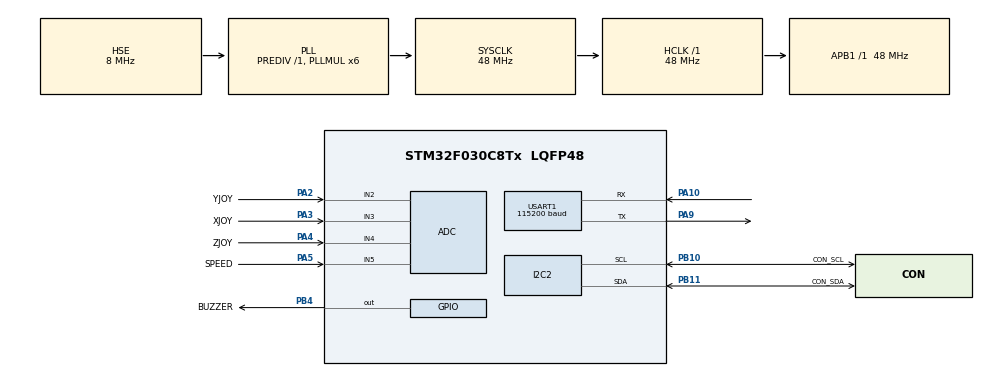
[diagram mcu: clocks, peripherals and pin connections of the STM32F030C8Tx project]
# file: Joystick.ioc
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ADC.ClockPrescaler=ADC_CLOCK_SYNC_PCLK_DIV4
ADC.ContinuousConvMode=ENABLE
ADC.DMAContinuousRequests=ENABLE
ADC.EOCSelection=ADC_EOC_SEQ_CONV
ADC.ExternalTrigConv=ADC_SOFTWARE_START
ADC.SamplingTime=ADC_SAMPLETIME_239CYCLES_5
Dma.ADC.0.Direction=DMA_PERIPH_TO_MEMORY
Dma.ADC.0.Instance=DMA1_Channel1
Dma.ADC.0.MemDataAlignment=DMA_MDATAALIGN_HALFWORD
Dma.ADC.0.MemInc=DMA_MINC_ENABLE
Dma.ADC.0.Mode=DMA_CIRCULAR
Dma.ADC.0.PeriphDataAlignment=DMA_PDATAALIGN_HALFWORD
Dma.ADC.0.PeriphInc=DMA_PINC_DISABLE
Dma.ADC.0.Priority=DMA_PRIORITY_LOW
Dma.Request0=ADC
I2C2.I2C_Fall_Time=300
I2C2.I2C_Rise_Time=1000
I2C2.Timing=0x30E32E37
Mcu.Family=STM32F0
Mcu.Name=STM32F030C8Tx
Mcu.Package=LQFP48
NVIC.ADC1_IRQn=true\:0\:0\:true\:false\:true\:true\:true
NVIC.DMA1_Channel1_IRQn=true\:0\:0\:false\:false\:true\:false\:true
NVIC.I2C2_IRQn=true\:0\:0\:true\:false\:true\:true\:true
NVIC.TIM3_IRQn=true\:0\:0\:false\:false\:true\:true\:true
NVIC.TIM6_IRQn=true\:0\:0\:false\:false\:true\:true\:true
NVIC.USART1_IRQn=true\:0\:0\:true\:false\:true\:true\:true
PA10.Mode=Asynchronous
PA10.Signal=USART1_RX
PA13.GPIO_Label=CON_SWIO
PA13.Mode=Serial_Wire
PA13.Signal=SYS_SWDIO
PA14.GPIO_Label=CON_SWCLK
PA14.Mode=Serial_Wire
PA14.Signal=SYS_SWCLK
PA2.GPIO_Label=YJOY
PA2.Mode=IN2
PA2.Signal=ADC_IN2
PA3.GPIO_Label=XJOY
PA3.Mode=IN3
PA3.Signal=ADC_IN3
PA4.GPIO_Label=ZJOY
PA4.Mode=IN4
PA4.Signal=ADC_IN4
PA5.GPIO_Label=SPEED
PA5.Mode=IN5
PA5.Signal=ADC_IN5
PA9.Mode=Asynchronous
PA9.Signal=USART1_TX
PB10.GPIO_Label=CON_SCL
PB10.Mode=I2C
PB10.Signal=I2C2_SCL
PB11.GPIO_Label=CON_SDA
PB11.Mode=I2C
PB11.Signal=I2C2_SDA
PB4.GPIO_Label=BUZZER
PB4.GPIO_PuPd=GPIO_PULLDOWN
PB4.GPIO_Speed=GPIO_SPEED_FREQ_MEDIUM
PB4.Signal=GPIO_Output
PF0-OSC_IN.Mode=HSE-External-Oscillator
PF0-OSC_IN.Signal=RCC_OSC_IN
PF1-OSC_OUT.Mode=HSE-External-Oscillator
PF1-OSC_OUT.Signal=RCC_OSC_OUT
ProjectManager.HeapSize=0x200
ProjectManager.StackSize=0x400
ProjectManager.TargetToolchain=MDK-ARM V5
RCC.AHBFreq_Value=48000000
RCC.APB1Freq_Value=48000000
RCC.APB1TimFreq_Value=48000000
RCC.HCLKFreq_Value=48000000
RCC.PLLMUL=RCC_PLL_MUL6
RCC.PLLSourceVirtual=RCC_PLLSOURCE_HSE
RCC.SYSCLKFreq_VALUE=48000000
RCC.SYSCLKSource=RCC_SYSCLKSOURCE_PLLCLK
TIM3.AutoReloadPreload=TIM_AUTORELOAD_PRELOAD_ENABLE
TIM3.Period=4999
TIM3.Prescaler=4799
TIM6.Period=999
TIM6.Prescaler=4799
USART1.BaudRate=115200
USART1.Parity=PARITY_NONE
USART1.VirtualMode-Asynchronous=VM_ASYNC
VP_TIM3_VS_ClockSourceINT.Mode=Internal
VP_TIM6_VS_ClockSourceINT.Mode=Enable_Timer
board=custom

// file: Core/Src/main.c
/* USER CODE BEGIN Header */
/**
  * @file           main.c
  * @details        "At first Should press(F1+F2)keys for 3seconds to initialize reference values of joystick(when joystick is released)"
  *                 In this code we recieve 2 Uart packages (Get and Led)
  *                 and according to them, if we recieved Get package, we
  *                 send the status of potentiometers(ADC) and keys(I2C)
  *                 with Status packet to controller.if we recieved Led
  *                 package, we set status of LEDs(I2C) and buzzer according
  *                 to recieved data and then send Ack packet to controller.
  *                 At first or when we didn't recieve any data from controller for 10 seconds,
  *                 the (JOYSTICK,EMERGENCY,DCC) LEDs blinking.
  *                 At first Should press(F1+F2)keys for 3seconds to initialize reference values of joystick(when joystick is released)
  *                 When user wants to reset joystick reference values should press(F1+F2)keys for 3seconds(KEYPAD_CHECK_COUNTER_MAX * 100ms)
  * @author         Shima Nosrati
  * @Date           1400.06.17
  * @copyright      Mehr (Meghyas Hamisheh Radyab)
  * @warning        ---
  */
/* USER CODE END Header */
#include "main.h"
#include "adc.h"
#include "dma.h"
#include "i2c.h"
#include "tim.h"
#include "usart.h"
#include "gpio.h"

/* USER CODE BEGIN Includes */
#include "stdio.h"
#include "math.h"       /**< round function */
#include "mcp23017.h"
#include "datamanagement.h"
#include "delay.h"
/* USER CODE END Includes */

/* USER CODE BEGIN PTD */

/**
  * @struct AdcVlaues_t
  * @brief  This struct holds a list of read values from ADC. These variables are defined globally and
  *         change only in HAL_ADC_ConvCpltCallback function, they should not change elsewhere in the program.
  */
typedef struct
{
  uint16_t Xpos;   /**< This variable holds the read adc value of Joystick X-axis (0-4095 for 12 bit resolution)     */
  uint16_t Ypos;   /**< This variable holds the read adc value of Joystick Y-axis (0-4095 for 12 bit resolution)     */
  uint16_t Zpos;   /**< This variable holds the read adc value of Joystick Z-axis (0-4095 for 12 bit resolution)     */
  uint16_t Spos;   /**< This variable holds the read adc value of Speed potentiometer (0-4095 for 12 bit resolution) */
}AdcVlaues_t;

/**
  * @struct JoystickReferences_t
  * @brief  This struct holds a list of reference values of joystick when the joystick is released
  */
typedef struct
{
  uint16_t XjoyRef;   /**< This variable holds the reference value of Joystick X-axis when the joystick is released */
  uint16_t YjoyRef;   /**< This variable holds the reference value of Joystick Y-axis when the joystick is released */
  uint16_t ZjoyRef;   /**< This variable holds the reference value of Joystick Z-axis when the joystick is released */
}JoystickReferences_t;

/**
  * @struct Flags_t
  * @brief  This struct holds a list of flags that indicate the received data from serial and read data from adc is ready or not
  */
typedef struct
{
  uint8_t RxPacketReady : 1;      /**< Indicate the received data from Uart is ready or not              */
  uint8_t AdcDataReady : 1;       /**< Indicate the read data from adc is ready or not                   */
  uint8_t TransactionExist : 1;   /**< Indicate there is data transaction between Handbox and Controller */
  uint8_t JoyRefSet : 1;          /**< Indicate the JoyStick reference values are set or not             */
  uint8_t Dummy : 4;              /**< Not used                                                          */
}Flags_t;

/**
  * @enum BlinkStatus_t
  * @brief Indicate JOYSTICK,EMERGENCY,DCC LEDs are OFF or ON
  */
typedef enum
{
  BlinkOff = 0,  /**< JOYSTICK,EMERGENCY,DCC LEDs are OFF */
  BlinkOn = 1    /**< JOYSTICK,EMERGENCY,DCC LEDs are ON  */
}BlinkStatus_t;

/* USER CODE END PTD */

/* USER CODE BEGIN PD */

/**
  * @def   RX_BUFFER_MAX_SIZE
  * @brief Specify the maximum value of RxBuffer size
  */
#define RX_BUFFER_MAX_SIZE    ((uint8_t)50)

/**
  * @def   TX_BUFFER_MAX_SIZE
  * @brief Specify the maximum value of TxBuffer size
  */
#define TX_BUFFER_MAX_SIZE    ((uint8_t)11)

/**
  * @def   ADC_SAMPLE_NUMBER
  * @brief Specify the number of samples from each adc channel (must be even and power of 2)
  */
#define ADC_SAMPLE_NUMBER     ((uint8_t)16)

/**
  * @def   ADC_SAMPLE_SHIFT_RIGHT
  * @brief Specify the number of shifting right the value of adc sampling to calculate value of average of adc sampling data
  *        (ADC_SAMPLE_SHIFT_RIGHT = log(ADC_SAMPLE_NUMBER) in based 2)
  */
#define ADC_SAMPLE_SHIFT_RIGHT     ((uint8_t)4)

/**
  * @def   ADC_BUFFER_MAX_SIZE
  * @brief Specify the maximum value of AdcBuffer size
  */
#define ADC_BUFFER_MAX_SIZE   ((uint8_t)(ADC_SAMPLE_NUMBER * ((uint8_t)4)))

/**
  * @def   ADC_VALUE_UPPER_LIMIT
  * @brief Specify the value of maximum limit of read adc data (4020 = 4095 - 75)
  */
#define ADC_VALUE_UPPER_LIMIT   ((uint16_t)4020)

/**
  * @def   ADC_VALUE_LOWER_LIMIT
  * @brief Specify the value of minimum limit of read adc data (75 = 0 + 75)
  */
#define ADC_VALUE_LOWER_LIMIT   ((uint16_t)75)

/**
  * @def   ADC_REF_OFFSET
  * @brief Specify the value of Offset (As this value increases, the accuracy of adc value decreases)
  *        We used this offset to eliminate potentiometers position instability
  */
#define ADC_REF_OFFSET    ((uint16_t)20)

/**
  * @def   TRANSACTION_TIME_COUNTER_MAX
  * @brief Specify the maximum value of counter Which is used to calculate Transaction time
  *        Transaction time = counter * 500ms (500ms is when the timer interrupt occurs)
  */
#define TRANSACTION_TIME_COUNTER_MAX    ((uint16_t)20)

/**
  * @def   PAGE63_ADRS
  * @brief Specify the address of Page 63 of microcontroller flash.
  */
#define PAGE63_ADRS    ((uint32_t)0x0800FC00)

/**
  * @def   JOYREF_CHECK_ADRS
  * @brief Specify the address where JOYREF_CHECK_VALUE is stored, which indicates the reference values are set or not.
  *        When the keys (F1, F2) are pressed, we store a specific value of JOYREF_CHECK_VALUE in JOYREF_CHECK_ADRS address,
  *        and we also store the reference values in the specified addresses( XJOYREF_ADRS, YJOYREF_ADRS, ZJOYREF_ADRS),
  *        and by examining the specified value stored in address JOYREF_CHECK_ADRS, we find that the reference values are set Or not.
  *        (Refer to Table-4 of stm32f030 user manual)
  */
#define JOYREF_CHECK_ADRS    (PAGE63_ADRS + ((uint32_t)0))

/**
  * @def   XJOYREF_ADRS
  * @brief Specify the microcontroller flash address where value of reference value of joystick position in X-axis, will be stored.
  *        (Refer to Table-4 of stm32f030 user manual)
  */
#define XJOYREF_ADRS    (PAGE63_ADRS + ((uint32_t)2))

/**
  * @def   YJOYREF_ADRS
  * @brief Specify the microcontroller flash address where value of reference value of joystick position in Y-axis, will be stored.
  *        (Refer to Table-4 of stm32f030 user manual)
  */
#define YJOYREF_ADRS    (PAGE63_ADRS + ((uint32_t)4))

/**
  * @def   ZJOYREF_ADRS
  * @brief Specify the microcontroller flash address where value of reference value of joystick position in Z-axis, will be stored.
  *        (Refer to Table-4 of stm32f030 user manual)
  */
#define ZJOYREF_ADRS    (PAGE63_ADRS + ((uint32_t)6))

/**
  * @def   JOYREF_CHECK_VALUE
  * @brief Specify the value that stored in JOYREF_CHECK_ADRS address and indicates the reference values are set or not.
  */
#define JOYREF_CHECK_VALUE    ((uint16_t)0xAAAA)

/**
  * @def   KEYPAD_CHECK_COUNTER_MAX
  * @brief Specify the counter, which specifies the time that (F1, F2) keys must be pressed (KEYPAD_CHECK_COUNTER_MAX * 100ms).
  *        In KEYPAD_CHECK_COUNTER_MAX=30, user must press the keys for 3 seconds to save the joystick reference values.
  */
#define KEYPAD_CHECK_COUNTER_MAX ((uint16_t)30)

/* USER CODE END PD */

/* USER CODE BEGIN PV */
/**
  * @var   const uint16_t PositiveMax
  * @brief This variable holds the maximum value of Joystick axis position for positive position
  */
const uint16_t PositiveMax = 200;

/**
  * @var   const uint16_t PositiveMin
  * @brief This variable holds the minimum value of Joystick axis position for positive position
  */
const uint16_t PositiveMin = 101;

/**
  * @var   const uint16_t NegativeMax
  * @brief This variable holds the maximum value of Joystick axis position for negative position
  */
const uint16_t NegativeMax = 99;

/**
  * @var   const uint16_t NegativeMin
  * @brief This variable holds the minimum value of Joystick axis position for negative position
  */
const uint16_t NegativeMin = 0;

/**
  * @var   const uint16_t SpeedMax
  * @brief This variable holds the maximum value of Speed potentiometer position
  */
const uint16_t SpeedMax = 10;

/**
  * @var   const uint16_t SpeedMin
  * @brief This variable holds the minimum value of Speed potentiometer position
  */
const uint16_t SpeedMin = 0;

/**
  * @var   uint8_t ReceivedData
  * @brief This variable holds the value of 1byte recieved data from Uart
  */
uint8_t ReceivedData;

/**
  * @var   uint8_t RxBuffer[RX_BUFFER_MAX_SIZE]
  * @brief Recieved bytes from Uart are stored in this buffer. This variable is defined globally and
  *        change only in HAL_UART_RxCpltCallback function, it should not change elsewhere in the program.
  */
uint8_t RxBuffer[RX_BUFFER_MAX_SIZE];

/**
  * @var   uint8_t RxCounter
  * @brief This variable holds the value of the counter of received data
  *        Initialize RxCounter to starting value
  */
uint8_t RxCounter = 0;

/**
  * @var   uint16_t AdcBuffer[16]
  * @brief The data read from adc is stored in this buffer
  */
uint16_t AdcBuffer[ADC_BUFFER_MAX_SIZE];

/**
  * @var   MCP23017_Handle_t hmcp1
  * @brief This variable contains value and parameters of First MCP23017 IC
  */
MCP23017_Handle_t hmcp1;

/**
  * @var   MCP23017_Handle_t hmcp2
  * @brief This variable contains value and parameters of second MCP23017 IC
  */
MCP23017_Handle_t hmcp2;

/**
  * @var   AdcVlaues_t AdcReadValues
  * @brief This variable holds the read adc value of Joystick and Speed potentiometers. These variables are defined globally and
  *        change only in HAL_ADC_ConvCpltCallback function, they should not change elsewhere in the program.
  */
AdcVlaues_t AdcReadValues;

/**
  * @var   Flags_t Flag
  * @brief This variable holds a list of flags that indicate the received data from Uart and read data from adc is ready or not
  */
Flags_t Flag;

/**
  * @var   uint16_t TransactionTimeCounter
  * @brief This variable holds the counter Which is used to calculate Transaction time
  */
uint16_t TransactionTimeCounter = 0;

/**
  * @var   BlinkStatus_t BlinkStatus
  * @brief This variable holds the status of JOYSTICK,EMERGENCY,DCC LEDs.
  */
BlinkStatus_t BlinkStatus = BlinkOff;

uint16_t ReadFlash;

uint16_t KeypadCheckCounter = 0;
/* USER CODE END PV */

void SystemClock_Config(void);
/* USER CODE BEGIN PFP */
void get_status_routine(StatusData_t *pStatusData, JoystickReferences_t *pJoyRef, AdcVlaues_t *pAdcVals);
void led_status_routine(DataAndCommand_t *pDataAndCmd);
void buzzer (uint16_t BeepTime);
/* USER CODE END PFP */

int main(void)
{
  /* USER CODE BEGIN 1 */

  /**
    * @var   DataAndCommand_t DataAndCommand
    * @brief This variable holds receive commands and the received Command Data from Uart
    */
  DataAndCommand_t DataAndCommand;

  /**
    * @var   StatusData_t StatusData
    * @brief This variable holds a list of status buffer data (values of joystick and speed potentiometer positions and Buttons situation)
    */
  StatusData_t StatusData;

  /**
    * @var   PacketData_t PacketData
    * @brief This variable holds Buffer(Ack ans Status) packet  and a list of messages (This packet is filled to send to the controller)
    */
  PacketData_t PacketData;

  /**
    * @var   JoystickReferences_t JoyRef
    * @brief This variable holds a list of reference values of joystick when the joystick is released
    */
  JoystickReferences_t JoyRef;

  /**
    * @var   FLASH_EraseInitTypeDef EraseInitStruct
    * @brief FLASH Erase structure definition
    */
  FLASH_EraseInitTypeDef EraseInitStruct;

  /**
    * @var   uint32_t PageError
    * @brief This variable contains the configuration information on faulty page in case of error
    *        (0xFFFFFFFF means that all the pages have been correctly erased)
    *        Initialize value to zero.
    */
  uint32_t PageError = 0;

  /* USER CODE END 1 */

  /* MCU Configuration--------------------------------------------------------*/

  /* Reset of all peripherals, Initializes the Flash interface and the Systick. */
  HAL_Init();

  /* Configure the system clock */
  SystemClock_Config();

  /* Initialize all configured peripherals */
  MX_GPIO_Init();
  MX_DMA_Init();
  MX_ADC_Init();
  MX_I2C2_Init();
  MX_USART1_UART_Init();
  MX_TIM3_Init();
  MX_TIM6_Init();
  /* USER CODE BEGIN 2 */

  /**
    * @note Initialize MCP23017 ICs. define their address and their direction(input-output) and initialize all leds are OFF.
    */
  MCP23017_init(&hmcp1, &hi2c2, MCP23017_ADDRESS_1);
  MCP23017_init(&hmcp2, &hi2c2, MCP23017_ADDRESS_8);
  MCP23017_iodir(&hmcp1, MCP23017_PORTA, MCP23017_IODIR_ALL_OUTPUT);
  MCP23017_iodir(&hmcp1, MCP23017_PORTB, MCP23017_IODIR_ALL_INPUT);
  MCP23017_iodir(&hmcp2, MCP23017_PORTA, MCP23017_IODIR_ALL_OUTPUT);
  MCP23017_iodir(&hmcp2, MCP23017_PORTB, MCP23017_IODIR_ALL_INPUT);

  /* LEDs OFF */
  hmcp1.Gpio[MCP23017_PORTA] = 0xFF;
  MCP23017_write_gpio(&hmcp1, MCP23017_PORTA);
  hmcp2.Gpio[MCP23017_PORTA] = 0xFF;
  MCP23017_write_gpio(&hmcp2, MCP23017_PORTA);

  /**
    * @note Initialize variable to starting value. (no flag, no command, no message)
    */
  Flag.JoyRefSet = 0;
  Flag.RxPacketReady = 0;
  Flag.AdcDataReady = 0;
  Flag.TransactionExist = 0;
  BlinkStatus = BlinkOff;
  TransactionTimeCounter = 0;
  DataAndCommand.CmdType = CmdNone;
  DataAndCommand.CmdData[0] = 0x00;
  DataAndCommand.CmdData[1] = 0x00;
  DataAndCommand.CmdData[2] = 0x00;
  PacketData.MsgType = MsgNone;
  KeypadCheckCounter = 0;

  HAL_Delay(500);
  /**
    * @note Read Flash to check if reference values were previously set.
    *       When the keys (F1, F2) are pressed, we store a specific value of JOYREF_CHECK_VALUE in JOYREF_CHECK_ADRS address,
    *       and we also store the reference values in the specified addresses( XJOYREF_ADRS, YJOYREF_ADRS, ZJOYREF_ADRS),
    *       and by examining the specified value stored in address JOYREF_CHECK_ADRS, we find that the reference values are set Or not.
    *       and if reference values were previously set we use that values(that saved in flash memory) for reference values.
    */
  ReadFlash = *(uint16_t *)JOYREF_CHECK_ADRS;
  if (ReadFlash == JOYREF_CHECK_VALUE)
  {
    JoyRef.XjoyRef = *(uint16_t *)XJOYREF_ADRS;
    JoyRef.YjoyRef = *(uint16_t *)YJOYREF_ADRS;
    JoyRef.ZjoyRef = *(uint16_t *)ZJOYREF_ADRS;
    Flag.JoyRefSet = 1;
  }
  else
  {
    JoyRef.XjoyRef = 0;
    JoyRef.YjoyRef = 0;
    JoyRef.ZjoyRef = 0;
    Flag.JoyRefSet = 0;

  }
  /**
    * @note Initial beep.
    */
  buzzer(50);

  /* Start and enable interupt for  receive data(one byte) from uart */
  HAL_UART_Receive_IT(&huart1, &ReceivedData, 1);
  /* Start and enable interupt for 500ms tick timer */
  HAL_TIM_Base_Start_IT(&htim3);
  /* Start and enable interupt for 100ms tick timer to check keypad */
  HAL_TIM_Base_Start_IT(&htim6);

  /* USER CODE END 2 */

  /* Infinite loop */
  /* USER CODE BEGIN WHILE */
  for (;;)
  {

    /**
      * @note When received data from uart is ready reset the RxPacketReady and analyze the received data from Uart.
      */
    if ((Flag.RxPacketReady == 1) && (Flag.JoyRefSet == 1))
    {
      Flag.RxPacketReady = 0;

      input_packet_analyzer(RxBuffer, &RxCounter, &DataAndCommand);
    }

    /**
      * @note When received command is CmdGet routine of Get command is performed The message type changes to
      *       MsgStatus and reset command and command data values. When received command is CmdLed routine of Led
      *       command is performed The message type changes to MsgAck and reset command and command data values.
      */
    if ((DataAndCommand.CmdType == CmdGet) && (Flag.JoyRefSet == 1))
    {
      get_status_routine(&StatusData, &JoyRef, &AdcReadValues);
      /*  Change The message type to MsgStatus */
      PacketData.MsgType = MsgStatus;

      /*  Reset Command  */
      DataAndCommand.CmdType = CmdNone;

      /*  Reset command data values  */
      DataAndCommand.CmdData[0] = 0x00;
      DataAndCommand.CmdData[1] = 0x00;
      DataAndCommand.CmdData[2] = 0x00;
    }
    else if ((DataAndCommand.CmdType == CmdLed) && (Flag.JoyRefSet == 1))
    {
      led_status_routine(&DataAndCommand);

      /*  Change The message type to MsgAck  */
      PacketData.MsgType = MsgAck;

      /*  Reset Command  */
      DataAndCommand.CmdType = CmdNone;

      /*  Reset command data values  */
      DataAndCommand.CmdData[0] = 0x00;
      DataAndCommand.CmdData[1] = 0x00;
      DataAndCommand.CmdData[2] = 0x00;
    }
    else
    {
      /* Empty */
    }

    /**
      * @note When the message isn't MsgNone, make message (prepare message to send to controller) and using Uart send it to controller.
      */
    if ((PacketData.MsgType != MsgNone) && (Flag.JoyRefSet == 1))
    {
      make_message(&PacketData, &StatusData);

      /*  Send PacketData.Buffer to controller using uart */
      HAL_UART_Transmit(&huart1, PacketData.Buffer, TX_BUFFER_MAX_SIZE, 100);

      /*  Reset The message type to MsgNone  */
      PacketData.MsgType = MsgNone;
    }
    /* USER CODE END WHILE */

    /* USER CODE BEGIN 3 */

    /**
      * @note When (F1, F2) keys are pressed for (KEYPAD_CHECK_COUNTER_MAX * 100ms) secons, stop all timers and turn on all LEDs
      *       and read Adc and save the joystick reference values on the microcontroller flash memory. Then Turn off all LEDs and
      *       start timer3 and timer6 to continue the program.
      *       Stop all actions to initialize Joystick reference values then start actions for program routine.
      */
    if (KeypadCheckCounter == KEYPAD_CHECK_COUNTER_MAX)
    {
      /**
        * @note stop timer3 and timer6
        */
      HAL_TIM_Base_Stop(&htim3);
      HAL_TIM_Base_Stop(&htim6);

      /**
        * @note Turn on all LEDs
        */
      hmcp1.Gpio[MCP23017_PORTA] = 0x00;
      MCP23017_write_gpio(&hmcp1, MCP23017_PORTA);
      hmcp2.Gpio[MCP23017_PORTA] = 0x00;
      MCP23017_write_gpio(&hmcp2, MCP23017_PORTA);

      /**
        * @note read Adc
        */
      Flag.AdcDataReady = 0;
      HAL_ADC_Start_DMA(&hadc,(uint32_t*) AdcBuffer, ADC_BUFFER_MAX_SIZE);
      while (Flag.AdcDataReady == 0);

      /**
        * @note save the joystick reference values on the microcontroller flash memory(page63, Refer to Table-4 of stm32f030 user manual).
        */
      HAL_FLASH_Unlock();

      EraseInitStruct.NbPages = 1;
      EraseInitStruct.PageAddress = PAGE63_ADRS;
      EraseInitStruct.TypeErase = TYPEERASE_PAGES;
      HAL_FLASHEx_Erase(&EraseInitStruct , &PageError);

      HAL_FLASH_Program(FLASH_TYPEPROGRAM_HALFWORD, JOYREF_CHECK_ADRS, JOYREF_CHECK_VALUE);
      HAL_FLASH_Program(FLASH_TYPEPROGRAM_HALFWORD, XJOYREF_ADRS, AdcReadValues.Xpos);
      HAL_FLASH_Program(FLASH_TYPEPROGRAM_HALFWORD, YJOYREF_ADRS, AdcReadValues.Ypos);
      HAL_FLASH_Program(FLASH_TYPEPROGRAM_HALFWORD, ZJOYREF_ADRS, AdcReadValues.Zpos);

      HAL_FLASH_Lock();

      JoyRef.XjoyRef = *(uint16_t *)XJOYREF_ADRS;
      JoyRef.YjoyRef = *(uint16_t *)YJOYREF_ADRS;
      JoyRef.ZjoyRef = *(uint16_t *)ZJOYREF_ADRS;
      Flag.JoyRefSet = 1;

      HAL_Delay(5000);

      /**
        * @note Turn off all LEDs
        */
      hmcp1.Gpio[MCP23017_PORTA] = 0xFF;
      MCP23017_write_gpio(&hmcp1, MCP23017_PORTA);
      hmcp2.Gpio[MCP23017_PORTA] = 0xFF;
      MCP23017_write_gpio(&hmcp2, MCP23017_PORTA);

      /**
        * @note start timer3 and timer6.
        */
      Flag.TransactionExist = 0;
      BlinkStatus = BlinkOff;
      TransactionTimeCounter = 0;
      HAL_TIM_Base_Start_IT(&htim3);

      KeypadCheckCounter = 0;
      HAL_TIM_Base_Start_IT(&htim6);
    }
  }
  /* USER CODE END 3 */
}

void SystemClock_Config(void)
{
  RCC_OscInitTypeDef RCC_OscInitStruct = {0};
  RCC_ClkInitTypeDef RCC_ClkInitStruct = {0};
  RCC_PeriphCLKInitTypeDef PeriphClkInit = {0};

  /** Initializes the RCC Oscillators according to the specified parameters
  * in the RCC_OscInitTypeDef structure.
  */
  RCC_OscInitStruct.OscillatorType = RCC_OSCILLATORTYPE_HSE;
  RCC_OscInitStruct.HSEState = RCC_HSE_ON;
  RCC_OscInitStruct.PLL.PLLState = RCC_PLL_ON;
  RCC_OscInitStruct.PLL.PLLSource = RCC_PLLSOURCE_HSE;
  RCC_OscInitStruct.PLL.PLLMUL = RCC_PLL_MUL6;
  RCC_OscInitStruct.PLL.PREDIV = RCC_PREDIV_DIV1;
  if (HAL_RCC_OscConfig(&RCC_OscInitStruct) != HAL_OK)
  {
    Error_Handler();
  }
  /** Initializes the CPU, AHB and APB buses clocks
  */
  RCC_ClkInitStruct.ClockType = RCC_CLOCKTYPE_HCLK|RCC_CLOCKTYPE_SYSCLK
                              |RCC_CLOCKTYPE_PCLK1;
  RCC_ClkInitStruct.SYSCLKSource = RCC_SYSCLKSOURCE_PLLCLK;
  RCC_ClkInitStruct.AHBCLKDivider = RCC_SYSCLK_DIV1;
  RCC_ClkInitStruct.APB1CLKDivider = RCC_HCLK_DIV1;

  if (HAL_RCC_ClockConfig(&RCC_ClkInitStruct, FLASH_LATENCY_1) != HAL_OK)
  {
    Error_Handler();
  }
  PeriphClkInit.PeriphClockSelection = RCC_PERIPHCLK_USART1;
  PeriphClkInit.Usart1ClockSelection = RCC_USART1CLKSOURCE_PCLK1;
  if (HAL_RCCEx_PeriphCLKConfig(&PeriphClkInit) != HAL_OK)
  {
    Error_Handler();
  }
}

/* USER CODE BEGIN 4 */

/**
  * @brief   Starts the TIM Base generation in interrupt mode. This interruption occurs for timer3 and timer6.
  *          Timer3 = 500ms                    Timer6 = 600ms
  *          Timer3 = (PSC + 1) * (ARR + 1) / Ft = (4800) * (5000) / 48MHz = 500ms
  * @param   htim TIM Base handle
  * @returns None
  * @note    None
  */
void HAL_TIM_PeriodElapsedCallback(TIM_HandleTypeDef *htim)
{
  if (htim == &htim3)
  {
    /**
      * @note When there is no transaction JOYSTICK,EMERGENCY,DCC LEDs blink. when handbox receives data from controller,
      *       it sets Flag of TransactionExist and reset TransactionTimeCounter and
      *       When there is no transaction between HandBox and Controller for (TRANSACTION_TIME_COUNTER_MAX * 500ms) seconds
      *       and TransactionTimeCounter reaches to its predefined value, reset the TransactionTimeCounter and TransactionExist
      *       flag(to make  JOYSTICK,EMERGENCY,DCC LEDs blink) and turn off all LEDs.
      */
    if (Flag.TransactionExist == 0)
    {
      if (BlinkStatus == BlinkOff)
      {
        /* Turn on JOYSTICK,EMERGENCY,DCC LEDs  */
        hmcp1.Gpio[MCP23017_PORTA] = 0xC7;
        MCP23017_write_gpio(&hmcp1, MCP23017_PORTA);
        BlinkStatus = BlinkOn;
      }
      else
      {
        /* Turn off LEDs of first MCP23017      */
        hmcp1.Gpio[MCP23017_PORTA] = 0xFF;
        MCP23017_write_gpio(&hmcp1, MCP23017_PORTA);
        BlinkStatus = BlinkOff;
      }
    }
    else
    {
      TransactionTimeCounter++;

      if (TransactionTimeCounter == TRANSACTION_TIME_COUNTER_MAX)
      {
        Flag.TransactionExist = 0;
        TransactionTimeCounter = 0;

        hmcp1.Gpio[MCP23017_PORTA] = 0xFF;
        MCP23017_write_gpio(&hmcp1, MCP23017_PORTA);
        hmcp2.Gpio[MCP23017_PORTA] = 0xFF;
        MCP23017_write_gpio(&hmcp2, MCP23017_PORTA);
        BlinkStatus = BlinkOff;
      }
    }
  }
  else if (htim == &htim6)
  {
     /**
      * @note Sometimes the data sent by the controller was not received by the Handbox in the program.
      *       with this part of code we can solve this problem.
      *       Every 100ms check if Rx process is not already ongoing ,enable interupt for receive data.
      */
    if (huart1.RxState == HAL_UART_STATE_READY)
    {
      HAL_UART_Receive_IT(&huart1, &ReceivedData, 1);
    }

    /**
      * @note Every 100ms check F1, F2 keys and if F1, F2 are pressed increase KeypadCheckCounter
      *       and if F1, F2 are not pressed reset KeypadCheckCounter.
      */
    MCP23017_read_gpio(&hmcp1, MCP23017_PORTB);
    if (hmcp1.Gpio[MCP23017_PORTB] == 0x7E)
    {
      KeypadCheckCounter++;
    }
    else
    {
      KeypadCheckCounter = 0;
    }
  }
}

/**
  * @brief   Rx Transfer completed callback. In this function received data from Uart save in a buffer and check termination
  *          if it was correct and Flag.TransactionExist == 0, turn off all LEDs and set RxPacketReady flag And it is announced
  *          that the data is ready and set TransactionExist flag and reset TransactionTimeCounter.
  * @param   huart UART Handle
  * @returns None
  * @note    None
  */
void HAL_UART_RxCpltCallback (UART_HandleTypeDef *huart)
{
  /**
   * @note Fill RxBuffer with received data.
   */
  RxBuffer[RxCounter] = ReceivedData;

  /**
   * @note check termination and if termination was ok and Flag.TransactionExist == 0, turn off all LEDs set RxPacketReady flag and
   *       set TransactionExist flag and reset TransactionTimeCounter .
   */
  if ((RxBuffer[RxCounter] == 0x0A) && (RxCounter != 0))
  {
    if (RxBuffer[RxCounter - 1] == 0x0D)
    {
      /**
        * @note When there is no transaction between HandBox and Controller (JOYSTICK, EMERGENCY, DCC) LEDs are blinking and when HandBox recieved
        *       data from Controller Turn off all LEDs.
        */
      if (Flag.TransactionExist == 0)
      {
        hmcp1.Gpio[MCP23017_PORTA] = 0xFF;
        MCP23017_write_gpio(&hmcp1, MCP23017_PORTA);
        hmcp2.Gpio[MCP23017_PORTA] = 0xFF;
        MCP23017_write_gpio(&hmcp2, MCP23017_PORTA);
        BlinkStatus = BlinkOff;
      }
      Flag.RxPacketReady = 1;
      Flag.TransactionExist = 1;
      TransactionTimeCounter = 0;
    }
  }
  /**
   * @note increase RxCounter for save next receive byte in RxBuffer.
   */
  RxCounter++;
  /**
   * @note Use this condition to prevent from RxBuffer overflow.
   */
  if (RxCounter > RX_BUFFER_MAX_SIZE)
  {
    RxCounter = 0;
  }

  /**
    * @note Enable interupt for  receive the next byte.
    */
  HAL_UART_Receive_IT(&huart1, &ReceivedData, 1);
}

/**
  * @brief   Conversion complete callback in non blocking mode. When ADC_BUFFER_MAX_SIZE bytes of adc are read,
  *          it enters this function and ADC_SAMPLE_NUMBER samples are taken from each channel and their average
  *          is taken and stored in AdcReadValues variable and set adc data ready flag And it is announced that the ADC data is ready.
  *          ADC_BUFFER_MAX_SIZE = ADC_SAMPLE_NUMBER * 4 (because we use 4 channel of adc)
  *          AdcReadValues variable is defined globally and change only in HAL_ADC_ConvCpltCallback function, it should not change elsewhere in the program.
  * @param   hadc ADC Handle
  * @returns None
  * @note    None
  */
void HAL_ADC_ConvCpltCallback (ADC_HandleTypeDef* hadc)
{
  /**
    * @var   uint16_t Cnt
    * @brief This variable holds the value of counter of ADC_SAMPLE_NUMBER.
    */
  uint16_t Cnt = 0;

  /**
    * @var   uint16_t Channel
    * @brief This variable holds the value of adc channel number.
    */
  uint16_t Channel = 0;

  /**
    * @var    uint16_t Index
    * @brief This variable holds the value of index of AdcBuffer.
    */
  uint16_t Index = 0;

  /**
    * @var   uint16_t ReadData
    * @brief This variable holds the value of read adc data of each channel of adc.
    */
  uint16_t ReadData = 0;

  /**
    * @var   uint32_t Sum
    * @brief This variable holds the value of sum of read adc data of each channel of adc.
    */
  uint32_t Sum = 0;

  /**
    * @note Stop adc because adc is in continues mode and if we do not stop it, the program will remain in this function.
    */
  HAL_ADC_Stop_DMA(hadc);

  /**
    * @note read adc data of first channel of adc (channel = 0) and calculate average of them and store in AdcReadValues.Xpos.
    */
  Sum = 0;
  Channel = 0;
  for (Cnt = 0; Cnt < ADC_SAMPLE_NUMBER; Cnt++)
  {
    Index = (uint16_t)((Cnt * 4) + Channel);

    if (AdcBuffer[Index] > ADC_VALUE_UPPER_LIMIT)
    {
      ReadData = ADC_VALUE_UPPER_LIMIT;
    }
    else if (AdcBuffer[Index] < ADC_VALUE_LOWER_LIMIT)
    {
      ReadData = ADC_VALUE_LOWER_LIMIT;
    }
    else
    {
      ReadData = AdcBuffer[Index];
    }

    Sum += ReadData;
  }

  /**
    * @note calculate the average of adc data. Each time the sum shift to the right, sum is divided by 2.
    *       For example if ADC_SAMPLE_SHIFT_RIGHT = 4 -> (Sum >> ADC_SAMPLE_SHIFT_RIGHT) = sum/(2^4).
    */
  AdcReadValues.Xpos = (uint16_t)(Sum >> ADC_SAMPLE_SHIFT_RIGHT);

  /**
    * @note read adc data of second channel of adc (channel = 1) and calculate average of them and store in AdcReadValues.Ypos.
    */
  Sum = 0;
  Channel = 1;
  for (Cnt = 0; Cnt < ADC_SAMPLE_NUMBER; Cnt++)
  {
    Index = (uint16_t)((Cnt * 4) + Channel);

    if (AdcBuffer[Index] > ADC_VALUE_UPPER_LIMIT)
    {
      ReadData = ADC_VALUE_UPPER_LIMIT;
    }
    else if (AdcBuffer[Index] < ADC_VALUE_LOWER_LIMIT)
    {
      ReadData = ADC_VALUE_LOWER_LIMIT;
    }
    else
    {
      ReadData = AdcBuffer[Index];
    }

    Sum += ReadData;
  }

  /**
    * @note calculate the average of adc data. Each time the sum shift to the right, sum is divided by 2.
    *       For example if ADC_SAMPLE_SHIFT_RIGHT = 4 -> (Sum >> ADC_SAMPLE_SHIFT_RIGHT) = sum/(2^4).
    */
  AdcReadValues.Ypos = (uint16_t)(Sum >> ADC_SAMPLE_SHIFT_RIGHT);

  /**
    * @note read adc data of third channel of adc (channel = 0) and calculate average of them and store in AdcReadValues.Zpos.
    */
  Sum = 0;
  Channel = 2;
  for (Cnt = 0; Cnt < ADC_SAMPLE_NUMBER; Cnt++)
  {
    Index = (uint16_t)((Cnt * 4) + Channel);

    if (AdcBuffer[Index] > ADC_VALUE_UPPER_LIMIT)
    {
      ReadData = ADC_VALUE_UPPER_LIMIT;
    }
    else if (AdcBuffer[Index] < ADC_VALUE_LOWER_LIMIT)
    {
      ReadData = ADC_VALUE_LOWER_LIMIT;
    }
    else
    {
      ReadData = AdcBuffer[Index];
    }

    Sum += ReadData;
  }

  /**
    * @note calculate the average of adc data. Each time the sum shift to the right, sum is divided by 2.
    *       For example if ADC_SAMPLE_SHIFT_RIGHT = 4 -> (Sum >> ADC_SAMPLE_SHIFT_RIGHT) = sum/(2^4).
    */
  AdcReadValues.Zpos = (uint16_t)(Sum >> ADC_SAMPLE_SHIFT_RIGHT);

  /**
    * @note read adc data of fourth channel of adc (channel = 3) and calculate average of them and store in AdcReadValues.Spos.
    */
  Sum = 0;
  Channel = 3;
  for (Cnt = 0; Cnt < ADC_SAMPLE_NUMBER; Cnt++)
  {
    Index = (uint16_t)((Cnt * 4) + Channel);

    if (AdcBuffer[Index] > ADC_VALUE_UPPER_LIMIT)
    {
      ReadData = ADC_VALUE_UPPER_LIMIT;
    }
    else if (AdcBuffer[Index] < ADC_VALUE_LOWER_LIMIT)
    {
      ReadData = ADC_VALUE_LOWER_LIMIT;
    }
    else
    {
      ReadData = AdcBuffer[Index];
    }

    Sum += ReadData;
  }

  /**
    * @note calculate the average of adc data. Each time the sum shift to the right, sum is divided by 2.
    *       For example if ADC_SAMPLE_SHIFT_RIGHT = 4 -> (Sum >> ADC_SAMPLE_SHIFT_RIGHT) = sum/(2^4).
    */
  AdcReadValues.Spos = (uint16_t)(Sum >> ADC_SAMPLE_SHIFT_RIGHT);

  /**
    * @note set adc data ready flag
    */
  Flag.AdcDataReady = 1;
}

/**
  * @brief   In this function routine of Get command is performed.
  *          This function reads the values of the Buttons situation and potentiometers and, according to the calculations,
  *          shows position Joystick potentiometers between 0-200 and Speed potentiometers between 0-10 and stores all of these values in the pStatusData.
  * @param   pJoyRef specifies the pointer to reference values of joystick when the joystick is released.
  * @param   pAdcVals specifies the pointer to  read values from ADC.
  * @param   pStatusData specifies the pointer to list of status data (values of joystick and speed potentiometers positions and Buttons situation)
  * @returns None
  * @note    None
  */
void get_status_routine(StatusData_t *pStatusData, JoystickReferences_t *pJoyRef, AdcVlaues_t *pAdcVals)
{
  /**
    * @note Read adc values
    */
  Flag.AdcDataReady = 0;
  HAL_ADC_Start_DMA(&hadc, (uint32_t*)AdcBuffer, ADC_BUFFER_MAX_SIZE);
  while (Flag.AdcDataReady == 0);

  /**
    * @note calculate Joystick potentiometers position(XYZ axis) (0-200).
    *       y = (((y1 - y0)/(x1 - x0)) * (x - x0)) + y0
    *       for negative position: x0 = ADC_VALUE_LOWER_LIMIT                    y0 = NegativeMin
    *                              x1 = pJoyRef->XjoyRef - ADC_REF_OFFSET        y1 = NegativeMax
    *       for positive position: x0 = (pJoyRef->XjoyRef + ADC_REF_OFFSET)      y0 = PositiveMin
    *                              x1 = ADC_VALUE_UPPER_LIMIT                    y1 = PositiveMax
    */
  if ((pAdcVals->Xpos - (pJoyRef->XjoyRef + ADC_REF_OFFSET)) > 0)
  {
    pStatusData->Xjoy = (uint8_t)( ((float)(((float)(PositiveMax - PositiveMin)) * ((float)(pAdcVals->Xpos - (pJoyRef->XjoyRef + ADC_REF_OFFSET)))) /
                                   ((float)(ADC_VALUE_UPPER_LIMIT - (pJoyRef->XjoyRef + ADC_REF_OFFSET)))) + ((float) PositiveMin) );
  }
  else if ((pAdcVals->Xpos - (pJoyRef->XjoyRef - ADC_REF_OFFSET)) < 0)
  {
    pStatusData->Xjoy = (uint8_t)( ((float)(((float)(NegativeMax - NegativeMin)) * ((float)(pAdcVals->Xpos - ADC_VALUE_LOWER_LIMIT))) /
                                   ((float)((pJoyRef->XjoyRef - ADC_REF_OFFSET) - ADC_VALUE_LOWER_LIMIT))) + ((float) NegativeMin) );
  }
  else
  {
    pStatusData->Xjoy = 100;
  }

  if ((pAdcVals->Ypos - (pJoyRef->YjoyRef + ADC_REF_OFFSET)) > 0)
  {
    pStatusData->Yjoy = (uint8_t)( ((float)(((float)(PositiveMax - PositiveMin)) * ((float)(pAdcVals->Ypos - (pJoyRef->YjoyRef + ADC_REF_OFFSET)))) /
                                   ((float)(ADC_VALUE_UPPER_LIMIT - (pJoyRef->YjoyRef + ADC_REF_OFFSET)))) + ((float) PositiveMin) );
  }

  else if ((pAdcVals->Ypos - (pJoyRef->YjoyRef - ADC_REF_OFFSET)) < 0)
  {
    pStatusData->Yjoy = (uint8_t)( ((float)(((float)(NegativeMax - NegativeMin)) * ((float)(pAdcVals->Ypos - ADC_VALUE_LOWER_LIMIT))) /
                                   ((float)((pJoyRef->YjoyRef - ADC_REF_OFFSET) - ADC_VALUE_LOWER_LIMIT))) + ((float) NegativeMin) );
  }
  else
  {
    pStatusData->Yjoy = 100;
  }

  if ((pAdcVals->Zpos - (pJoyRef->ZjoyRef + ADC_REF_OFFSET)) > 0)
  {
    pStatusData->Zjoy = (uint8_t)( ((float)(((float)(PositiveMax - PositiveMin)) * ((float)(pAdcVals->Zpos - (pJoyRef->ZjoyRef + ADC_REF_OFFSET)))) /
                                   ((float)(ADC_VALUE_UPPER_LIMIT - (pJoyRef->ZjoyRef + ADC_REF_OFFSET)))) + ((float) PositiveMin) );
  }

  else if ((pAdcVals->Zpos - (pJoyRef->ZjoyRef - ADC_REF_OFFSET)) < 0)
  {
    pStatusData->Zjoy = (uint8_t)( ((float)(((float)(NegativeMax - NegativeMin)) * ((float)(pAdcVals->Zpos - ADC_VALUE_LOWER_LIMIT))) /
                                   ((float)((pJoyRef->ZjoyRef - ADC_REF_OFFSET) - ADC_VALUE_LOWER_LIMIT))) + ((float) NegativeMin) );
  }
  else
  {
    pStatusData->Zjoy = 100;
  }

  /**
    * @note calculate Speed potentiometer position (0-10).
    *       y = (((y1 - y0)/(x1 - x0)) * (x - x0)) + y0
    *       x0 = ADC_VALUE_LOWER_LIMIT        y0 = SpeedMin
    *       x1 = ADC_VALUE_UPPER_LIMIT        y1 = SpeedMax
    */
  pStatusData->Speed = (uint8_t) round( ((float)(((float)(SpeedMax - SpeedMin)) * ((float)(pAdcVals->Spos - ADC_VALUE_LOWER_LIMIT))) /
                                        ((float)(ADC_VALUE_UPPER_LIMIT - ADC_VALUE_LOWER_LIMIT))) + ((float) SpeedMin) );

  /**
    * @note Read Buttons situation from I2C (First MCP23017 , Second MCP23017)
    */
  MCP23017_read_gpio(&hmcp2, MCP23017_PORTB);
  pStatusData->Keypad2 = hmcp2.Gpio[MCP23017_PORTB];

  MCP23017_read_gpio(&hmcp1, MCP23017_PORTB);
  pStatusData->Keypad1 = hmcp1.Gpio[MCP23017_PORTB];
}

/**
  * @brief   In this function routine of Led command is performed.
  *          This function writes the values of the Leds to I2C (First MCP23017 , Second MCP23017).
  *          Based on the Command Data, the status of the Leds and the buzzer is determined
  * @param   pDataAndCmd specifies the pointer to Data And Command structure (receive commands and the received Command Data from Uart).
  * @returns None
  * @note    None
  */
void led_status_routine(DataAndCommand_t *pDataAndCmd)
{
  /**
    * @note Detrermine the status of First MCP23017 Leds Based on the Command Data.
    */
  hmcp1.Gpio[MCP23017_PORTA] = pDataAndCmd->CmdData[0];
  MCP23017_write_gpio(&hmcp1, MCP23017_PORTA);

  /**
    * @note Detrermine the status of Second MCP23017 Leds Based on the Command Data.
    */
  hmcp2.Gpio[MCP23017_PORTA] = pDataAndCmd->CmdData[1];
  MCP23017_write_gpio(&hmcp2, MCP23017_PORTA);

  /**
    * @note Detrermine the status of Buzzer Based on the Command Data.
    */
  if (pDataAndCmd->CmdData[2] != 0x00)
  {
    buzzer(50);
  }
}

/**
  * @brief   This function turns the buzzer on for BeepTime milliseconds and then turns it off.
  * @param   BeepTime Specify the time that the buzzer is turn on.
  * @returns None
  * @note    None
  */
void buzzer (uint16_t BeepTime)
{
  /*Turn On the buzzer */
  HAL_GPIO_WritePin(BUZZER_GPIO_Port, BUZZER_Pin, GPIO_PIN_SET);
  delay_ms(BeepTime);
  /*Turn Off the buzzer */
  HAL_GPIO_WritePin(BUZZER_GPIO_Port, BUZZER_Pin, GPIO_PIN_RESET);
}

/* USER CODE END 4 */

void Error_Handler(void)
{
  __disable_irq();
  while (1)
  {
  }
}

/************************ (C) COPYRIGHT STMicroelectronics *****END OF FILE****/
